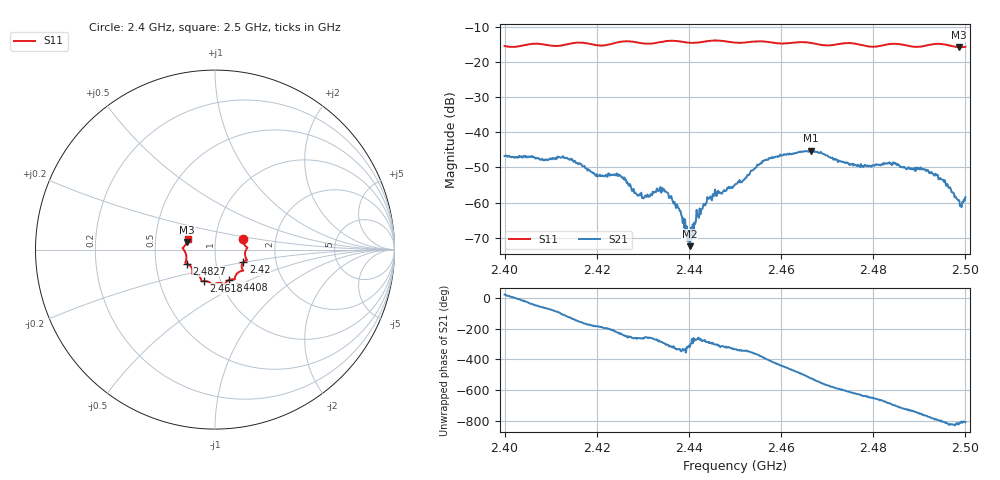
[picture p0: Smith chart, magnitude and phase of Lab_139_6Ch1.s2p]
# Hz S RI R 50
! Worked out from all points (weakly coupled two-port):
!   601 points, 2.4 GHz to 2.5 GHz, reference 50 ohm
!   highest |S21| = -45.24 dB at 2.4665 GHz (marker M1); lowest = -72.4 dB at 2.4402 GHz (marker M2)
!   lowest |S11| = -15.8 dB at 2.4987 GHz (marker M3), VSWR 1.39, Z = 36.4 + j3.16 ohm
!   |S11| at or under -10 dB: start of sweep to end of sweep
!   S12 and S22 are empty: the file has one direction only
!   S11 on the Smith chart (normalised r, x): 2.4 GHz: 1.36, +0.17; 2.42 GHz: 1.36, -0.19; 2.4408 GHz: 1.10, -0.39; 2.4618 GHz: 0.84, -0.30; 2.4827 GHz: 0.72, -0.12; 2.5 GHz: 0.73, +0.09
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2.4e9  0.1561 0.0618  0.0043 0.00165  0 0  0 0
2.416667e9  0.1781 -0.0594  -0.00326 -0.0013  0 0  0 0
2.42e9  0.158 -0.0692  -0.00253 0.000229  0 0  0 0
2.424833e9  0.1546 -0.113  -0.00149 0.00189  0 0  0 0
2.430333e9  0.132 -0.1257  -0.00026 0.00117  0 0  0 0
2.433333e9  0.112 -0.152  0.000332 0.00141  0 0  0 0
2.435e9  0.1107 -0.1633  0.000821 0.00118  0 0  0 0
2.437833e9  0.1055 -0.1656  0.000745 0.000362  0 0  0 0
2.440167e9  0.0857 -0.1662  0.000188 0.000151  0 0  0 0
2.440833e9  0.0789 -0.169  0.000216 0.000443  0 0  0 0
2.444167e9  0.0553 -0.1899  0.000327 0.00109  0 0  0 0
2.45e9  0.0279 -0.1859  0.00164 0.000771  0 0  0 0
2.4565e9  -0.0163 -0.1938  0.0034 -0.0022  0 0  0 0
2.461833e9  -0.0602 -0.1751  -0.00107 -0.00488  0 0  0 0
2.4665e9  -0.0766 -0.1695  -0.00525 -0.00153  0 0  0 0
2.466667e9  -0.0769 -0.1683  -0.00506 -0.00149  0 0  0 0
2.476667e9  -0.1255 -0.127  -0.000224 0.00346  0 0  0 0
2.482667e9  -0.1572 -0.0778  0.00249 0.00263  0 0  0 0
2.483333e9  -0.1614 -0.0763  0.00292 0.00223  0 0  0 0
2.4935e9  -0.1797 0.00667  0.001 -0.00239  0 0  0 0
2.498667e9  -0.1559 0.0423  -9.28e-05 -0.00107  0 0  0 0
2.5e9  -0.152 0.0617  5.13e-05 -0.0012  0 0  0 0
